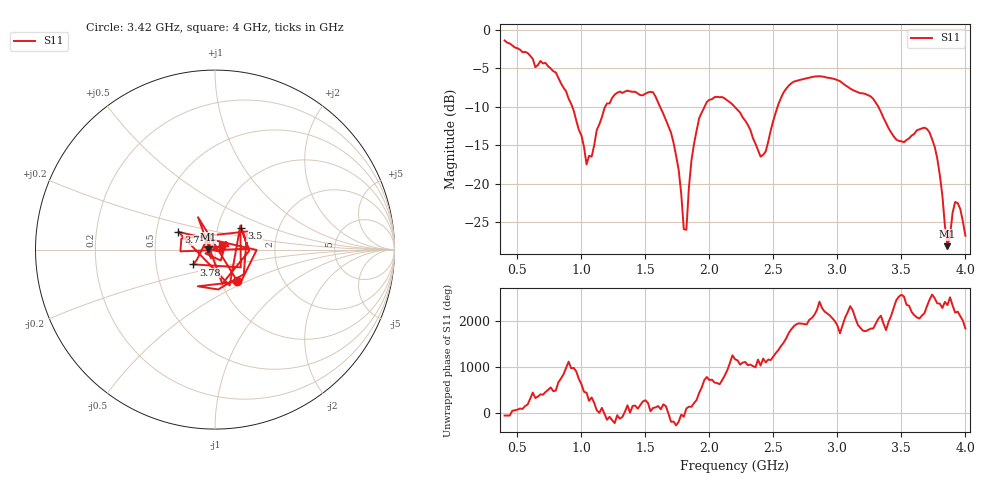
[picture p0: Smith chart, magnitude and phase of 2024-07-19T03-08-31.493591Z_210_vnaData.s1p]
!Created with skrf (http://scikit-rf.org).
# Hz S RI R 50.0
!freq ReS11 ImS11
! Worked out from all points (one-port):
!   181 points, 400 MHz to 4 GHz, reference 50 ohm
!   lowest |S11| = -28.1 dB at 3.86 GHz (marker M1), VSWR 1.08, Z = 46.2 + j0.214 ohm
!   |S11| at or under -10 dB: 1.615 GHz to 1.962 GHz (346.7 MHz wide, 19.4 % of centre); 2.198 GHz to 2.532 GHz (334.6 MHz wide, 14.1 % of centre); 3.321 GHz to end of sweep (the widest 3 of 4)
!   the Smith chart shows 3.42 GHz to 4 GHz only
!   S11 on the Smith chart (normalised r, x): 3.42 GHz: 1.20, -0.44; 3.5 GHz: 1.30, +0.32; 3.7 GHz: 0.65, +0.14; 3.78 GHz: 0.77, -0.13; 4 GHz: 1.08, +0.05
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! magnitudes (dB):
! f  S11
! 400 MHz  -1.4
! 860 MHz  -7.5
! 1 GHz  -13.7
! 1.04 GHz  -17.5
! 1.18 GHz  -10.2
! 1.3 GHz  -8.0
! 1.56 GHz  -8.1
! 1.7 GHz  -13.3
! 1.76 GHz  -18.2
! 1.8 GHz  -25.9
! 1.82 GHz  -26.0
! 1.86 GHz  -16.9
! 1.92 GHz  -11.5
! 2.04 GHz  -8.7
! 2.2 GHz  -10.0
! 2.4 GHz  -16.5
! 2.56 GHz  -8.8
! 2.66 GHz  -6.7
! 3.1 GHz  -7.6
! 3.28 GHz  -9.0
! 3.42 GHz  -13.3
! 3.5 GHz  -14.5
! 3.56 GHz  -14.1
! 3.7 GHz  -12.9
! 3.78 GHz  -16.7
! 3.86 GHz  -28.1
! 3.92 GHz  -22.3
! 4 GHz  -26.7
